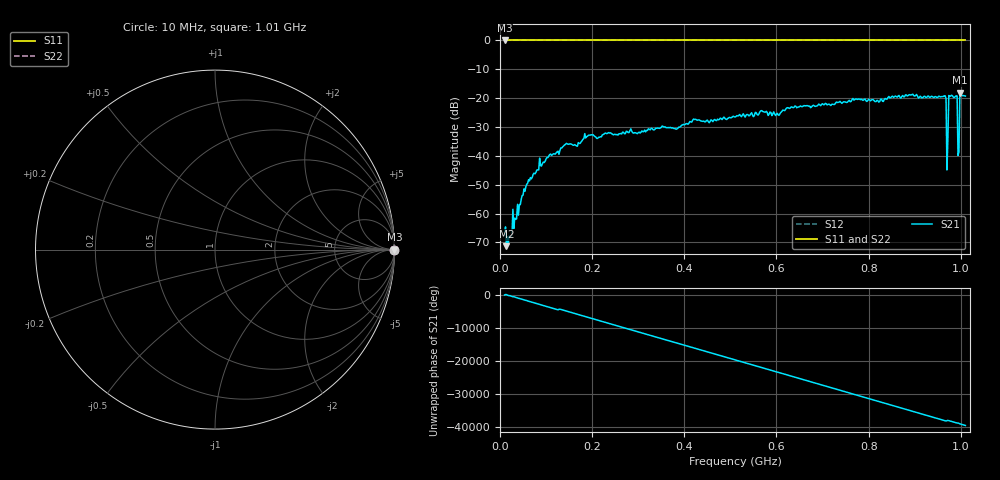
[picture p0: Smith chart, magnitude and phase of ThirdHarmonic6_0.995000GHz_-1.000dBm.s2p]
! 8/16/2025 7:56:53 AM
! C:\ANRITSUVNA\TEMP\TEMP.S2P
! CHANNEL.1
! TR.MEASUREMENT
! RAW.DATA
! RF.CORRECTION.OFF
! AVERAGING.OFF
! IF.BANDWIDTH: 5KHZ
! SWEEPTYPE:  FREQ.SWEEP(Linear)
! Reference Plane Port Info
! PORT:  PORT1  PORT2
! DISTANCE:  0  m  0  m
! TIME:  0  s  0  s
! PHASE.OFFSET:  0  deg.  0  deg.
! LOSS:  0  dB  0  dB
! REF.LOSS:  0  dB  0  dB
! REF.FREQ:  0  Hz  0  Hz
! Power Info
! POWER:  -20  dBm  -20  dBm
! EFF.POWER:  -20  dBm  -20  dBm
! SOURCE.ATTEN:  0  dB  0  dB
! TEST.ATTEN:  0  dB  0  dB
# GHZ S RI R 50.0
! FREQ.GHZ  S11RE  S11IM  S21RE  S21IM  S12RE  S12IM  S22RE  S22IM
!; PortSelection: Port_12
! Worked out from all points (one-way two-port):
!   501 points, 10 MHz to 1.01 GHz, reference 50 ohm
!   highest |S21| = -18.15 dB at 998 MHz (marker M1); lowest = -71.3 dB at 14 MHz (marker M2)
!   lowest |S11| = 0.0 dB at 10 MHz (marker M3)
!   |S11| at or under -10 dB: nowhere
!   |S22| runs from 0.0 to 0.0 dB; largest |S21 - S12| = 1.1
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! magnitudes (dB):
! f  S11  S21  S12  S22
! 10 MHz  0.0  -66.5  0.0  0.0
! 14 MHz  0.0  -71.3  0.0  0.0
! 22 MHz  0.0  -68.0  0.0  0.0
! 60 MHz  0.0  -49.5  0.0  0.0
! 90 MHz  0.0  -43.5  0.0  0.0
! 142 MHz  0.0  -36.0  0.0  0.0
! 178 MHz  0.0  -34.8  0.0  0.0
! 344 MHz  0.0  -30.4  0.0  0.0
! 510 MHz  0.0  -26.5  0.0  0.0
! 678 MHz  0.0  -22.7  0.0  0.0
! 844 MHz  0.0  -19.4  0.0  0.0
! 962 MHz  0.0  -19.4  0.0  0.0
! 964 MHz  0.0  -19.2  0.0  0.0
! 968 MHz  0.0  -20.1  0.0  0.0
! 972 MHz  0.0  -34.2  0.0  0.0
! 974 MHz  0.0  -19.1  0.0  0.0
! 978 MHz  0.0  -19.2  0.0  0.0
! 988 MHz  0.0  -19.4  0.0  0.0
! 992 MHz  0.0  -19.2  0.0  0.0
! 998 MHz  0.0  -18.1  0.0  0.0
! 1.002 GHz  0.0  -19.0  0.0  0.0
! 1.01 GHz  0.0  -19.3  0.0  0.0
